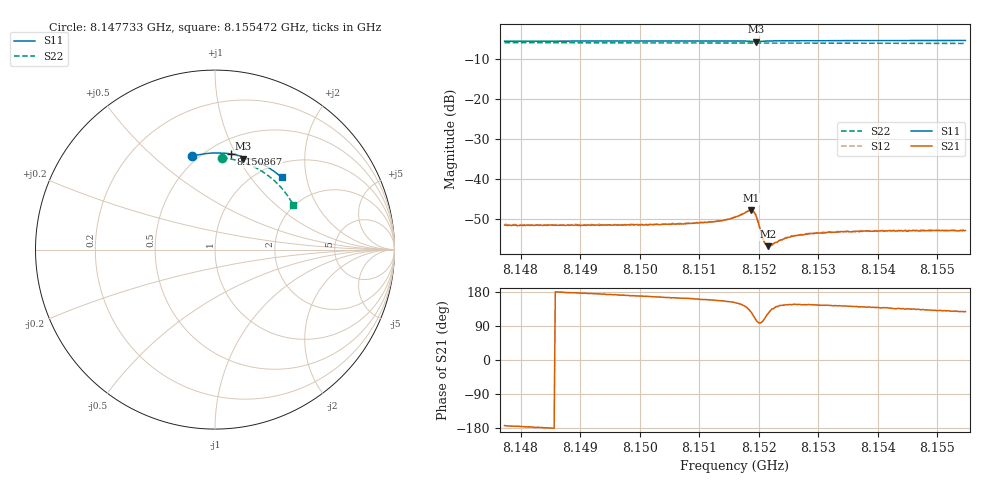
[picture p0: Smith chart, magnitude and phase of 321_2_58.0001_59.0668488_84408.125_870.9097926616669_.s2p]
#  HZ  S  RI  R  50.00
! Rohde & Schwarz Vector Network Analyzer
! Rohde-Schwarz,ZNB20-2Port,1311601062101988,3.16
! Created: UTC 3/21/2024, 1:04:42 AM
! freq[Hz]  re:S11  im:S11  re:S21  im:S21  re:S12  im:S12  re:S22  im:S22
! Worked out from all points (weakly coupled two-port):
!   401 points, 8.147733 GHz to 8.155472 GHz, reference 50 ohm
!   highest |S21| = -47.85 dB at 8.151873 GHz (marker M1); lowest = -56.9 dB at 8.152163 GHz (marker M2)
!   lowest |S11| = -5.5 dB at 8.151951 GHz (marker M3), VSWR 3.26, Z = 37.2 + j52.4 ohm
!   |S11| at or under -10 dB: nowhere
!   |S22| runs from -6.0 to -5.8 dB; largest |S21 - S12| = 0.00014
!   S11 on the Smith chart (normalised r, x): 8.147733 GHz: 0.46, +0.67; 8.150867 GHz: 0.63, +0.96; 8.155472 GHz: 1.26, +1.44
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8.1477327e9  -0.1281 0.5198  -0.00262 -0.000316  -0.00263 -0.00025  0.0402 0.5118
8.149029e9  -0.0393 0.5363  -0.00263 0.000143  -0.00264 0.000213  0.1233 0.4968
8.1503253e9  0.0511 0.5374  -0.00261 0.000625  -0.00264 0.000733  0.2023 0.4683
8.1508671e9  0.0889 0.5333  -0.00264 0.000852  -0.00264 0.000898  0.2333 0.4528
8.1513508e9  0.1228 0.5269  -0.00274 0.00119  -0.00274 0.00126  0.2603 0.437
8.1516023e9  0.1409 0.522  -0.0029 0.0016  -0.00293 0.00163  0.2738 0.4283
8.1518345e9  0.1572 0.512  -0.00273 0.00289  -0.00275 0.00293  0.2858 0.4196
8.1518732e9  0.1585 0.5094  -0.0024 0.00326  -0.00238 0.00331  0.2878 0.4181
8.1519119e9  0.1584 0.5069  -0.00175 0.00348  -0.00175 0.00354  0.2895 0.4166
8.1519506e9  0.1576 0.506  -0.00102 0.0034  -0.00103 0.0034  0.2915 0.4152
8.1519893e9  0.157 0.5072  -0.000478 0.00285  -0.000454 0.00289  0.2934 0.4139
8.1520473e9  0.1591 0.5101  -0.000332 0.00198  -0.000309 0.00199  0.2964 0.4119
8.152086e9  0.1621 0.5114  -0.000464 0.00161  -0.00046 0.00162  0.2983 0.4104
8.1521247e9  0.1652 0.512  -0.00065 0.00136  -0.000627 0.00137  0.3004 0.409
8.1521634e9  0.1686 0.5122  -0.000799 0.00119  -0.000825 0.00122  0.3023 0.4076
8.1522021e9  0.1717 0.512  -0.000979 0.00112  -0.000969 0.00112  0.3044 0.4061
8.1524149e9  0.1878 0.5085  -0.00144 0.00102  -0.00146 0.00105  0.3147 0.3975
8.1525117e9  0.1947 0.5064  -0.00155 0.00103  -0.00155 0.00106  0.3196 0.3934
8.1528986e9  0.2206 0.4967  -0.00173 0.00115  -0.00174 0.0012  0.3379 0.377
8.153421e9  0.2539 0.4815  -0.00174 0.00132  -0.00169 0.00134  0.3612 0.3537
8.154195e9  0.3006 0.4552  -0.00167 0.00153  -0.00163 0.00155  0.3927 0.3163
8.1554719e9  0.3709 0.4024  -0.00139 0.00179  -0.00137 0.0018  0.4361 0.2491
